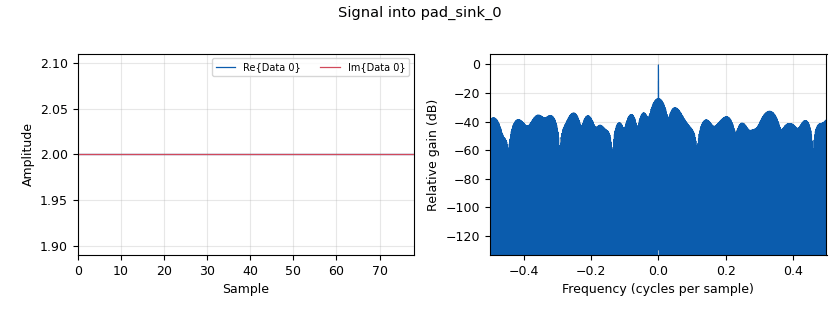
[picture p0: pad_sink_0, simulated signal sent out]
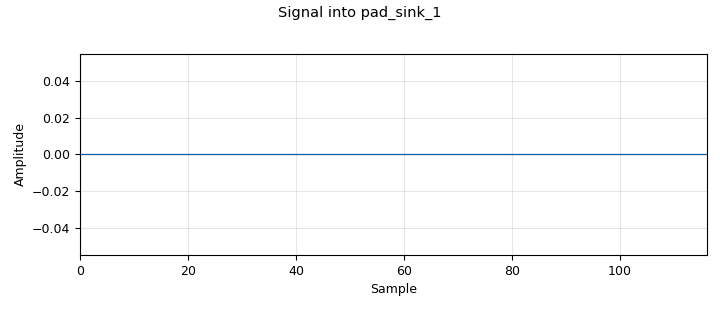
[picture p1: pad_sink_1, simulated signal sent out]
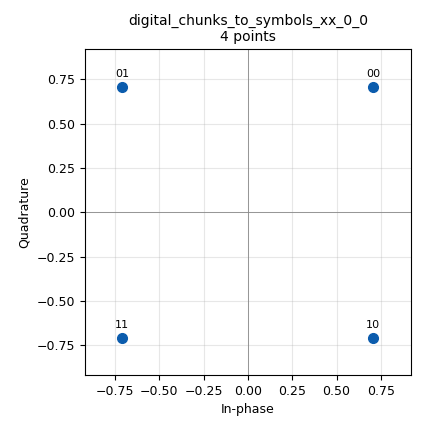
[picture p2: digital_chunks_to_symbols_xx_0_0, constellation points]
options:
  parameters:
    author: Jeff Cuenco
    category: Hierarchical Modulation
    description: Sends 512 symbols of deterministic data to debug HQAM system (HP Layer)
    generate_options: hb
    id: hier_chunk_test_probe_txhp
    output_language: python
    title: '[DEBUG] HQAM HP Chunk Test Probe TX'
  states: {}

blocks:
- name: constel
  id: variable_constellation
  parameters:
    const_points: '[1+1j, -1+1j, 1-1j, -1-1j]'
    dims: '1'
    precision: '8'
    rot_sym: '4'
    soft_dec_lut: '''auto'''
    sym_map: '[0, 1, 2, 3]'
    type: calcdist
  states: {}
- name: constel_hp
  id: variable_constellation
  parameters:
    const_points: '[-1-1j, -1+1j, 1-1j, 1+1j]'
    dims: '1'
    precision: '8'
    rot_sym: '4'
    soft_dec_lut: '''auto'''
    sym_map: '[0, 1, 2, 3]'
    type: calcdist
  states: {state: disabled}
- name: samp_rate
  id: variable
  parameters:
    value: '32000'
  states: {state: disabled}
- name: blocks_multiply_const_vxx_0_1
  id: blocks_multiply_const_vxx
  parameters:
    const: '2.8284'
    type: complex
  states: {}
- name: blocks_null_source_0
  id: blocks_null_source
  parameters:
    type: byte
  states: {}
- name: blocks_stream_mux_0
  id: blocks_stream_mux
  parameters:
    lengths: '[30, 482]'
    type: byte
  states: {}
- name: blocks_vector_source_x_0
  id: blocks_vector_source_x
  parameters:
    repeat: 'True'
    type: byte
    vector: (0,1,1,2,2,1,3,0,3,1,1,1,2,2,3,0,0,0,1,1,1,1,2,2,3,3,2,2,1,3)
  states: {state: disabled}
- name: blocks_vector_source_x_0_0
  id: blocks_vector_source_x
  parameters:
    repeat: 'True'
    type: byte
    vector: (3, 3, 3, 3, 3, 3, 3, 2, 0, 3, 2, 0, 2, 0, 1, 1, 2, 1, 0, 2, 1, 1, 2, 0, 2, 3, 0, 0, 2, 1)
  states: {}
- name: digital_chunks_to_symbols_xx_0_0
  id: digital_chunks_to_symbols_xx
  parameters:
    dimension: '1'
    in_type: byte
    out_type: complex
    symbol_table: constel.points()
  states: {}
- name: pad_sink_0
  id: pad_sink
  parameters:
    label: out
    type: complex
  states: {}
- name: pad_sink_1
  id: pad_sink
  parameters:
    label: out
    optional: 'True'
    type: byte
  states: {}

connections:
- [blocks_multiply_const_vxx_0_1, '0', pad_sink_0, '0']
- [blocks_null_source_0, '0', blocks_stream_mux_0, '1']
- [blocks_stream_mux_0, '0', digital_chunks_to_symbols_xx_0_0, '0']
- [blocks_stream_mux_0, '0', pad_sink_1, '0']
- [blocks_vector_source_x_0, '0', blocks_stream_mux_0, '0']
- [blocks_vector_source_x_0_0, '0', blocks_stream_mux_0, '0']
- [digital_chunks_to_symbols_xx_0_0, '0', blocks_multiply_const_vxx_0_1, '0']

metadata:
  file_format: 1
